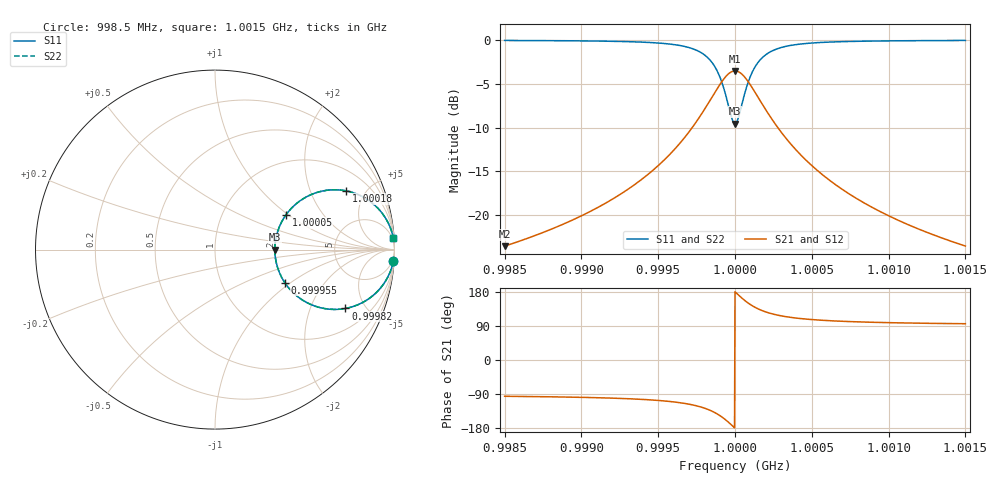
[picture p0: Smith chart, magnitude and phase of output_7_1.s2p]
! File generated for n1 = 7, n2 = 1
! b1 = 1.000000
! b2 = 1.000000
! Q0 = 10000.000000
! f0 = 1000000000.000000
! n = 1001
! rel_span = 10.000000
# Hz S RI R 50
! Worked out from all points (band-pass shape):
!   1001 points, 998.5 MHz to 1.0015 GHz, reference 50 ohm
!   highest |S21| = -3.52 dB at 1 GHz (marker M1); lowest = -23.6 dB at 998.5 MHz (marker M2)
!   |S21| within 3 dB of the highest: 999.8504 MHz to 1.00015 GHz (299.3 kHz wide, 0.0299 % of centre)
!   lowest |S11| = -9.5 dB at 1 GHz (marker M3), VSWR 2.00, Z = 100 + j0 ohm
!   |S11| at or under -10 dB: nowhere
!   |S22| runs from -9.5 to 0.0 dB; largest |S21 - S12| = 0
!   S11 on the Smith chart (normalised r, x): 998.5 MHz: 2, -30; 999.82 MHz: 2.00, -3.60; 999.955 MHz: 2.00, -0.90; 1.00005 GHz: 2.00, +0.96; 1.00018 GHz: 2.00, +3.66; 1.0015 GHz: 2, +30
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9.985e8  0.9934 -0.066  -0.00659 -0.066  -0.00659 -0.066  0.9934 -0.066
9.99001e8  0.9853 -0.0978  -0.0147 -0.0978  -0.0147 -0.0978  0.9853 -0.0978
9.99277e8  0.9725 -0.1326  -0.0275 -0.1326  -0.0275 -0.1326  0.9725 -0.1326
9.99502e8  0.9446 -0.1841  -0.0554 -0.1841  -0.0554 -0.1841  0.9446 -0.1841
9.99694e8  0.8709 -0.2635  -0.1291 -0.2635  -0.1291 -0.2635  0.8709 -0.2635
9.99763e8  0.8094 -0.3012  -0.1906 -0.3012  -0.1906 -0.3012  0.8094 -0.3012
9.9982e8  0.7268 -0.3279  -0.2732 -0.3279  -0.2732 -0.3279  0.7268 -0.3279
9.99895e8  0.5526 -0.3132  -0.4474 -0.3132  -0.4474 -0.3132  0.5526 -0.3132
9.99925e8  0.4667 -0.2667  -0.5333 -0.2667  -0.5333 -0.2667  0.4667 -0.2667
9.99955e8  0.3884 -0.1835  -0.6116 -0.1835  -0.6116 -0.1835  0.3884 -0.1835
9.99982e8  0.3428 -0.0789  -0.6572 -0.0789  -0.6572 -0.0789  0.3428 -0.0789
1e9  0.3333 0  -0.6667 0  -0.6667 0  0.3333 0
1.000021e9  0.3461 0.0915  -0.6539 0.0915  -0.6539 0.0915  0.3461 0.0915
1.000048e9  0.3953 0.1935  -0.6047 0.1935  -0.6047 0.1935  0.3953 0.1935
1.000105e9  0.5526 0.3132  -0.4474 0.3132  -0.4474 0.3132  0.5526 0.3132
1.000183e9  0.7321 0.3269  -0.2679 0.3269  -0.2679 0.3269  0.7321 0.3269
1.00024e9  0.8127 0.2996  -0.1873 0.2996  -0.1873 0.2996  0.8127 0.2996
1.000309e9  0.8728 0.2619  -0.1272 0.2619  -0.1272 0.2619  0.8728 0.2619
1.000501e9  0.9451 0.1832  -0.0549 0.1832  -0.0549 0.1832  0.9451 0.1832
1.000726e9  0.9727 0.1321  -0.0273 0.1321  -0.0273 0.1321  0.9727 0.1321
1.001002e9  0.9854 0.0977  -0.0146 0.0977  -0.0146 0.0977  0.9854 0.0977
1.0015e9  0.9934 0.0661  -0.00661 0.0661  -0.00661 0.0661  0.9934 0.0661
